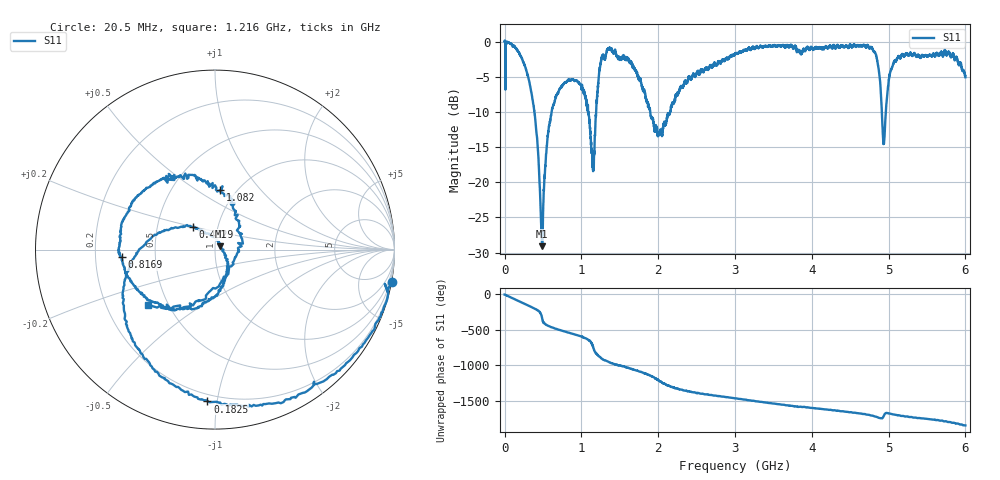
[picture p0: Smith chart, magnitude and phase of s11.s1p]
#  HZ  S  DB  R  50.0
! Rohde & Schwarz ZVL
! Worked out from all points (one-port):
!   4001 points, 1 MHz to 6 GHz, reference 50 ohm
!   lowest |S11| = -29.1 dB at 488.4 MHz (marker M1), VSWR 1.07, Z = 53.1 + j1.86 ohm
!   |S11| at or under -10 dB: 389.2 MHz to 613 MHz (223.8 MHz wide, 44.7 % of centre); 1.093 GHz to 1.192 GHz (99.31 MHz wide, 8.69 % of centre); 1.896 GHz to 2.155 GHz (259.2 MHz wide, 12.8 % of centre)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
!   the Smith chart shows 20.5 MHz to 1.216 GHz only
!   S11 on the Smith chart (normalised r, x): 20.5 MHz: -0, -11; 182.5 MHz: 0.16, -0.94; 432.9 MHz: 0.76, +0.20; 816.9 MHz: 0.31, -0.04; 1.082 GHz: 0.85, +0.63; 1.216 GHz: 0.39, -0.31
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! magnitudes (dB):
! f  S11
! 1 MHz  0.0
! 20.5 MHz  0.0
! 182.5 MHz  -1.4
! 341.4 MHz  -6.7
! 432.9 MHz  -15.1
! 488.4 MHz  -29.1
! 588.9 MHz  -11.5
! 750.9 MHz  -6.3
! 816.9 MHz  -5.6
! 984.8 MHz  -6.0
! 1.082 GHz  -9.6
! 1.151 GHz  -18.1
! 1.216 GHz  -6.3
! 1.261 GHz  -2.5
! 1.349 GHz  -1.0
! 1.501 GHz  -2.6
! 1.699 GHz  -3.9
! 2.017 GHz  -12.8
! 2.251 GHz  -7.5
! 3.001 GHz  -1.8
! 3.75 GHz  -0.8
! 4.5 GHz  -0.4
! 4.82 GHz  -1.5
! 4.938 GHz  -14.3
! 5.043 GHz  -3.7
! 5.25 GHz  -1.9
! 5.759 GHz  -1.9
! 6 GHz  -5.0
